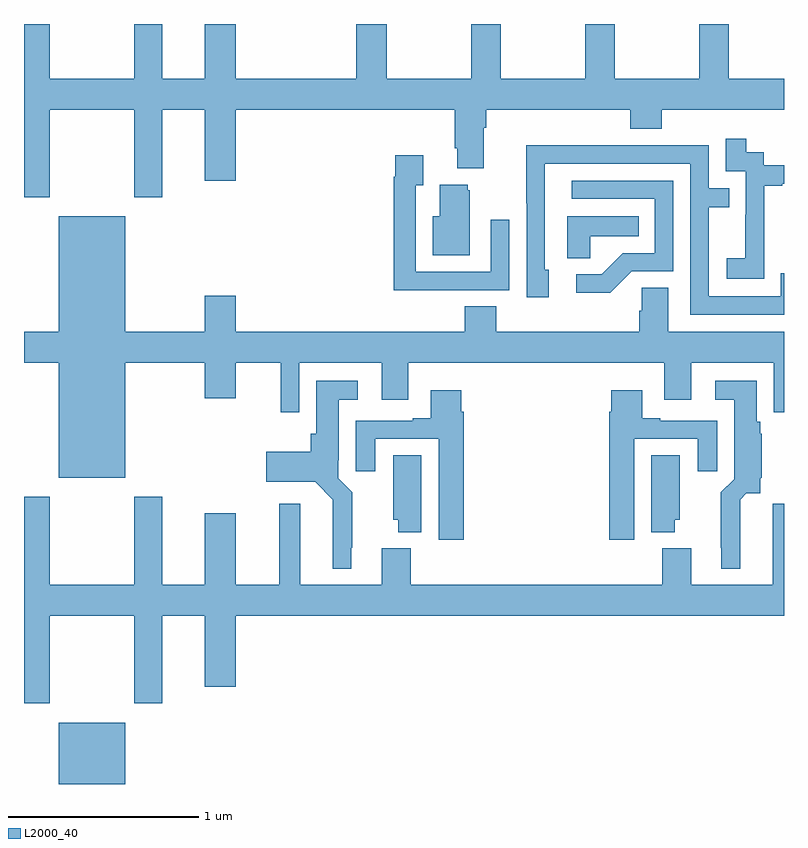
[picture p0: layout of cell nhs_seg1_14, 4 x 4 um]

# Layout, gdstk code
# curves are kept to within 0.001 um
import gdstk
lib = gdstk.Library(unit=1e-6, precision=1e-09)
def R(c, l, rs):  # rectangles x0, y0, x1, y1
    for r in rs: c.add(gdstk.rectangle(r[:2], r[2:], *l))
def P(c, l, *ps):  # polygons
    for p in ps: c.add(gdstk.Polygon(p, *l))
L2000_40 = (2000, 40)

nhs_seg1_14 = lib.new_cell('nhs_seg1_14')
R(nhs_seg1_14, L2000_40, [(111.182,532.199,111.532,532.522)])
P(nhs_seg1_14, L2000_40, [(111.135,535.748),(111.58,535.748),(111.58,535.287),(111.727,535.287),(111.727,535.748),(111.95,535.748),(111.95,535.374),(112.114,535.374),(112.114,535.748),(113.267,535.748),(113.267,535.546),(113.279,535.546),(113.279,535.439),(113.419,535.439),(113.419,535.652),(113.432,535.652),(113.432,535.748),(114.191,535.748),(114.191,535.649),(114.356,535.649),(114.356,535.748),(115,535.748),(115,535.912),(114.708,535.912),(114.708,536.199),(114.553,536.199),(114.553,535.912),(114.108,535.912),(114.108,536.199),(113.953,536.199),(113.953,535.912),(113.508,535.912),(113.508,536.199),(113.353,536.199),(113.353,535.912),(112.908,535.912),(112.908,536.199),(112.748,536.199),(112.748,535.912),(112.114,535.912),(112.114,536.199),(111.95,536.199),(111.95,535.912),(111.727,535.912),(111.727,536.199),(111.58,536.199),(111.58,535.912),(111.135,535.912),(111.135,536.199),(111,536.199),(111,535.287),(111.135,535.287)],
  [(114.897,535.063),(114.896,535.063),(114.896,535.347),(114.991,535.347),(114.991,535.359),(115,535.359),(115,535.455),(114.894,535.455),(114.894,535.524),(114.802,535.524),(114.802,535.594),(114.693,535.594),(114.693,535.425),(114.798,535.425),(114.798,535.196),(114.797,535.196),(114.797,534.967),(114.699,534.967),(114.699,534.857),(114.897,534.857)],
  [(115,534.888),(114.984,534.888),(114.984,534.765),(114.603,534.765),(114.603,535.234),(114.713,535.234),(114.713,535.335),(114.603,535.335),(114.603,535.56),(114.107,535.56),(114.107,535.562),(113.644,535.562),(113.644,535.255),(113.646,535.255),(113.646,534.762),(113.761,534.762),(113.761,534.906),(113.742,534.906),(113.742,535.464),(114.507,535.464),(114.507,534.669),(115,534.669)],
  [(113.237,534.798),(113.553,534.798),(113.553,535.168),(113.457,535.168),(113.457,534.894),(113.061,534.894),(113.061,535.351),(113.101,535.351),(113.101,535.507),(112.953,535.507),(112.953,535.394),(112.945,535.394),(112.945,534.797),(113.237,534.797)],
  [(114.198,534.897),(114.417,534.897),(114.417,535.374),(113.883,535.374),(113.883,535.278),(114.321,535.278),(114.321,534.993),(114.152,534.993),(114.041,534.882),(113.907,534.882),(113.907,534.785),(114.085,534.785)],
  [(113.347,535.323),(113.336,535.323),(113.336,535.354),(113.189,535.354),(113.189,535.186),(113.15,535.186),(113.15,534.983),(113.347,534.983)],
  [(111.532,534.416),(111.95,534.416),(111.95,534.228),(112.114,534.228),(112.114,534.416),(112.351,534.416),(112.351,534.156),(112.449,534.156),(112.449,534.416),(112.883,534.416),(112.883,534.222),(113.023,534.222),(113.023,534.416),(114.371,534.416),(114.371,534.222),(114.511,534.222),(114.511,534.416),(114.945,534.416),(114.945,534.156),(115,534.156),(115,534.58),(114.391,534.58),(114.391,534.812),(114.252,534.812),(114.252,534.689),(114.239,534.689),(114.239,534.58),(113.486,534.58),(113.486,534.713),(113.321,534.713),(113.321,534.58),(112.114,534.58),(112.114,534.769),(111.95,534.769),(111.95,534.58),(111.532,534.58),(111.532,535.186),(111.182,535.186),(111.182,534.58),(111,534.58),(111,534.416),(111.182,534.416),(111.182,533.81),(111.532,533.81)],
  [(113.979,535.082),(114.236,535.082),(114.236,535.186),(113.858,535.186),(113.858,534.967),(113.979,534.967)],
  [(114.769,533.696),(114.801,533.729),(114.876,533.729),(114.876,533.805),(114.882,533.811),(114.882,534.042),(114.876,534.042),(114.876,534.105),(114.856,534.105),(114.856,534.322),(114.639,534.322),(114.639,534.221),(114.737,534.221),(114.737,533.804),(114.667,533.734),(114.667,533.443),(114.671,533.443),(114.671,533.333),(114.769,533.333)],
  [(112.723,533.443),(112.727,533.443),(112.727,533.734),(112.653,533.808),(112.653,533.902),(112.657,533.902),(112.657,534.221),(112.756,534.221),(112.756,534.322),(112.538,534.322),(112.538,534.042),(112.508,534.042),(112.508,533.947),(112.275,533.947),(112.275,533.789),(112.533,533.789),(112.626,533.696),(112.625,533.333),(112.723,533.333)],
  [(113.315,534.158),(113.302,534.158),(113.302,534.271),(113.141,534.271),(113.141,534.124),(113.045,534.124),(113.045,534.111),(112.745,534.111),(112.745,533.844),(112.849,533.844),(112.849,534.015),(113.183,534.015),(113.183,533.484),(113.315,533.484)],
  [(114.211,534.015),(114.545,534.015),(114.545,533.844),(114.649,533.844),(114.649,534.111),(114.349,534.111),(114.349,534.124),(114.253,534.124),(114.253,534.271),(114.092,534.271),(114.092,534.158),(114.08,534.158),(114.08,533.484),(114.211,533.484)],
  [(114.424,533.589),(114.451,533.589),(114.451,533.93),(114.302,533.93),(114.302,533.525),(114.424,533.525)],
  [(113.092,533.93),(112.943,533.93),(112.943,533.589),(112.97,533.589),(112.97,533.525),(113.092,533.525)],
  [(111.135,533.084),(111.58,533.084),(111.58,532.623),(111.727,532.623),(111.727,533.084),(111.95,533.084),(111.95,532.71),(112.114,532.71),(112.114,533.084),(115,533.084),(115,533.674),(114.941,533.674),(114.941,533.248),(114.511,533.248),(114.511,533.44),(114.359,533.44),(114.359,533.248),(113.036,533.248),(113.036,533.44),(112.883,533.44),(112.883,533.248),(112.453,533.248),(112.453,533.674),(112.343,533.674),(112.343,533.248),(112.114,533.248),(112.114,533.623),(111.95,533.623),(111.95,533.248),(111.727,533.248),(111.727,533.71),(111.58,533.71),(111.58,533.248),(111.135,533.248),(111.135,533.71),(111,533.71),(111,532.623),(111.135,532.623)])

lib.write_gds('nhs_seg1_14.gds')
